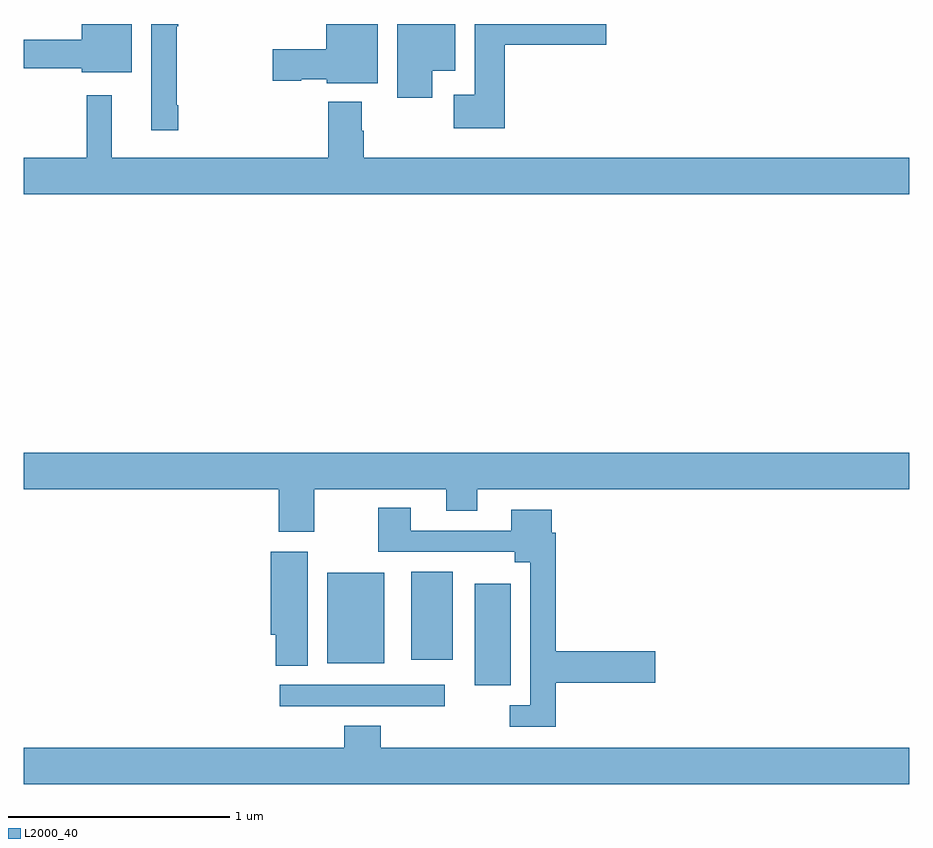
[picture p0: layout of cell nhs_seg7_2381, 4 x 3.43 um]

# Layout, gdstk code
import gdstk
lib = gdstk.Library(unit=1e-6, precision=1e-09)
def R(c, l, rs):  # rectangles x0, y0, x1, y1
    for r in rs: c.add(gdstk.rectangle(r[:2], r[2:], *l))
def P(c, l, *ps):  # polygons
    for p in ps: c.add(gdstk.Polygon(p, *l))
L2000_40 = (2000, 40)

nhs_seg7_2381 = lib.new_cell('nhs_seg7_2381')
R(nhs_seg7_2381, L2000_40, [(266.157,1048.92,266.902,1049.016), (267.038,1049.015,267.199,1049.473), (266.372,1049.114,266.629,1049.521), (266.75,1049.129,266.938,1049.527)])
P(nhs_seg7_2381, L2000_40, [(265.699,1051.633),(265.691,1051.633),(265.691,1051.99),(265.699,1051.99),(265.699,1052),(265.577,1052),(265.577,1051.521),(265.699,1051.521)],
  [(267.173,1051.907),(267.631,1051.907),(267.631,1052),(267.038,1052),(267.038,1051.681),(266.943,1051.681),(266.943,1051.529),(267.173,1051.529)],
  [(266.845,1051.79),(266.95,1051.79),(266.95,1052),(266.687,1052),(266.687,1051.668),(266.845,1051.668)],
  [(265.489,1052),(265.262,1052),(265.262,1051.928),(265,1051.928),(265,1051.8),(265.262,1051.8),(265.262,1051.781),(265.489,1051.781)],
  [(266.599,1052),(266.366,1052),(266.366,1051.886),(266.124,1051.886),(266.124,1051.744),(266.253,1051.744),(266.253,1051.751),(266.37,1051.751),(266.37,1051.733),(266.599,1051.733)],
  [(269,1051.396),(266.535,1051.396),(266.535,1051.517),(266.527,1051.517),(266.527,1051.648),(266.375,1051.648),(266.375,1051.396),(265.399,1051.396),(265.399,1051.678),(265.285,1051.678),(265.285,1051.396),(265,1051.396),(265,1051.232),(269,1051.232)],
  [(266.313,1049.9),(266.909,1049.9),(266.909,1049.801),(267.049,1049.801),(267.049,1049.9),(269,1049.9),(269,1050.064),(265,1050.064),(265,1049.9),(266.153,1049.9),(266.153,1049.706),(266.313,1049.706)],
  [(267.404,1049.026),(267.853,1049.026),(267.853,1049.168),(267.404,1049.168),(267.404,1049.702),(267.385,1049.702),(267.385,1049.806),(267.203,1049.806),(267.203,1049.712),(266.749,1049.712),(266.749,1049.815),(266.602,1049.815),(266.602,1049.616),(267.218,1049.616),(267.218,1049.57),(267.288,1049.57),(267.288,1048.924),(267.195,1048.924),(267.195,1048.827),(267.404,1048.827)],
  [(266.284,1049.617),(266.117,1049.617),(266.117,1049.241),(266.138,1049.241),(266.138,1049.101),(266.284,1049.101)],
  [(269,1048.732),(266.612,1048.732),(266.612,1048.831),(266.447,1048.831),(266.447,1048.732),(265,1048.732),(265,1048.568),(269,1048.568)])

lib.write_gds('nhs_seg7_2381.gds')
